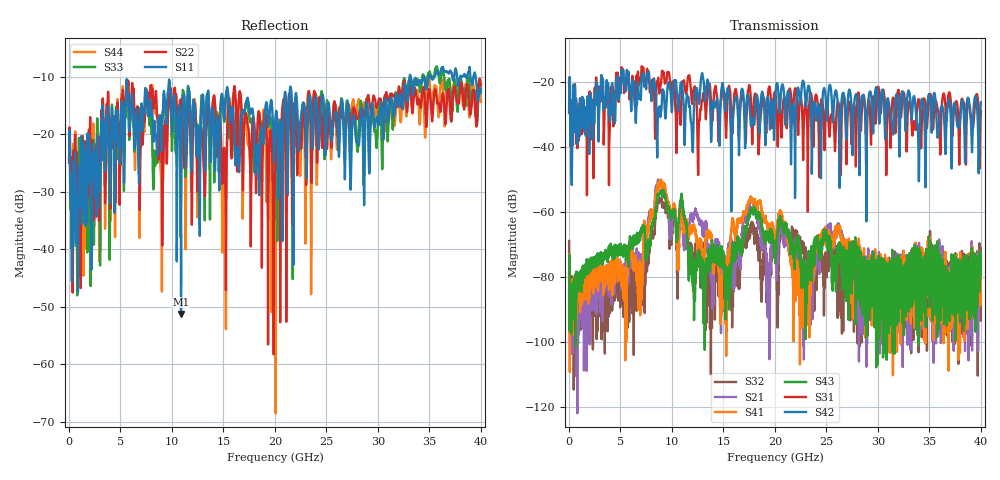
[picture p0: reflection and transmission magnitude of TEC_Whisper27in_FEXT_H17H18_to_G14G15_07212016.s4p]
! TE Connectivity
! H17H18-G14G15_FEXT
!! PART DESCRIPTION: Whisper 27in Megtron 6 HVLP-HVLP-HVLP Channel Model, bulkhead 2.92mm test points
!! MODEL DESCRIPTION: System 4-port S-parameter
!! MODEL STATUS: Measured
!! MODEL GEOMETRY: Channel Model
!! MODEL FREQUENCY RANGE: DC to 40 GHz in 10 MHz frequency steps
!! MODEL EDGE RATE LIMITATION: 12.5 ps (Using conservative 0.5/Fmax rule of thumb)
!! TIME-DOMAIN TRANSFORM CAUTIONS:
!! 1.) Do not simulate transient edge rates faster than the number listed above.  Edge
!!  rates faster than this number contain significant spectral content at frequencies
!!  above the model's highest frequency.
!! 2.) Even when simulating edge rates that are slower than the number listed above, be
!!  aware that the best time resolution possible with a direct iFFT is (1 / 2Fmax).
!!  As a result, time resolution is typically not adequate for most time-domain
!!  simulations unless tricks such as frequency-domain zero-padding and windowing are
!!  used to minimize leakage and aliasing.
!! 3.) Because the model has a uniform frequency step, a direct iFFT will result in an
!!  impulse that that has a time length given by either (1 / Fstep) or (1 / 2Fstep),
!!  depending on the transform being used.  Care has been taken in selecting the
!!  frequency step to ensure a settled impulse response for the model.  Therefore,
!!  convolution with the model's impulse response should present no issues.  However,
!!  if directly concatenating s-parameter models in the frequency domain a user must
!!  either interpolate necessary interim frequencies or complete impulse response
!!  zero-padding.  Impulse response zero-padding is more difficult, but more accurate.
!! PORT DEFINITIONS:
!! Port  1  ----->  Side A  H17  G14  Side B  <-----  Port  2
!! Port  3  ----->  Side A  H18  G15  Side B  <-----  Port  4
! Point-to-Point link (differential)  !
! Connectors:  !
!  1: STRADA Whisper 3.9mm  !
! Materials:  !
!  Backplane: Megtron-6 HVLP  !
!  Daughtercard: Megtron-6 HVLP  !
! Stack-up:  !
!  Backplane: 20 layers, 190mil thick  !
!  Daughtercard: 14 layers, 110mil thick  !
! Trace Length:  !
!  Backplane: 17in  !
!  Daughtercards: 5in  !
! Trace Width:  !
!  Backplane: 5.75-6.25-5.75 mils  !
!  Daughtercards: 6-9-6 mils  !
! Geometry:  !
!  Backplane: Stripline  !
!  Daughtercards: Stripline  !
! Layer Connections:  !
!  Backplane: Layer 16, counterbored(1-6mil stub)  !
!  Daughtercard: Layer 9, counterbored(1-6mil stub) !
! Freq. Range: 0 GHz - 40 GHz  !
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# hz S ma R 50
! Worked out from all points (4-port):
!   4000 points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, 10 MHz to 40 GHz, reference 50 ohm
!   strongest paths, dB at 10 MHz, 10.01 GHz, 20.01 GHz, 30.01 GHz, 40 GHz:
!     S42: -29.6, -28.5, -26.4, -26.0, -26.4
!     S31: -29.6, -22.1, -23.3, -21.6, -29.0
!     S43: -81.3, -60.6, -72.2, -90.8, -76.3
!     S41: -73.0, -59.5, -70.3, -84.5, -76.5
!     S21: -86.7, -62.9, -67.9, -86.9, -86.7
!     S32: -69.0, -66.0, -71.9, -77.1, -93.4
!   lowest |S11| = -51.3 dB at 10.88 GHz (marker M1), VSWR 1.01, Z = 50.3 + j0.0702 ohm
!   |S11| at or under -10 dB: start of sweep to 33.07 GHz; 33.19 GHz to 34.42 GHz (1.236 GHz wide, 3.66 % of centre); 39.48 GHz to end of sweep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
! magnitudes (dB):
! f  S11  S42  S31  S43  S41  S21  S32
! 10 MHz  -24.8  -29.6  -29.6  -81.3  -73.0  -86.7  -69.0
! 10.88 GHz  -51.3  -20.4  -28.8  -55.4  -58.2  -58.3  -56.0
! 12.15 GHz  -14.8  -27.4  -21.9  -89.6  -65.0  -60.8  -75.4
! 15.12 GHz  -17.3  -27.0  -27.1  -78.4  -76.9  -79.6  -73.6
! 17.85 GHz  -16.0  -31.4  -33.3  -59.2  -56.8  -56.2  -64.0
! 19.36 GHz  -17.8  -25.6  -22.6  -67.1  -64.2  -82.2  -87.7
! 40 GHz  -12.4  -26.4  -29.0  -76.3  -76.5  -86.7  -93.4
